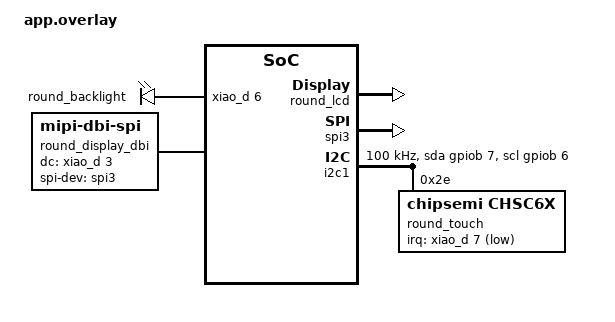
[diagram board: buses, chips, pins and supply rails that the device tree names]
#include <freq.h>
#include <zephyr/dt-bindings/display/panel.h>
#include <zephyr/dt-bindings/gpio/gpio.h>
#include <zephyr/dt-bindings/i2c/i2c.h>

/ {
	chosen {
		zephyr,display = &round_lcd;
	};

	backlights {
		compatible = "gpio-leds";
		round_backlight: backlight {
			gpios = <&xiao_d 6 GPIO_ACTIVE_HIGH>;
		};
	};

	round_display_dbi {
		compatible = "zephyr,mipi-dbi-spi";
		spi-dev = <&spi3>;
		dc-gpios = <&xiao_d 3 GPIO_ACTIVE_HIGH>;
		write-only;
		#address-cells = <1>;
		#size-cells = <0>;

		round_lcd: gc9a01@0 {
			compatible = "galaxycore,gc9x01x";
			reg = <0>;
			mipi-max-frequency = <DT_FREQ_M(8)>;
			pixel-format = <PANEL_PIXEL_FORMAT_RGB_565>;
			width = <240>;
			height = <240>;
			display-inversion;
		};
	};
};

&usart1 {
	status = "disabled";
};

&spi3 {
	status = "okay";
	cs-gpios = <&xiao_d 1 GPIO_ACTIVE_LOW>, <&xiao_d 2 GPIO_ACTIVE_LOW>;
};

&i2c1 {
	status = "okay";
	clock-frequency = <I2C_BITRATE_STANDARD>;
	scl-gpios = <&gpiob 6 (GPIO_OPEN_DRAIN | GPIO_PULL_UP)>;
	sda-gpios = <&gpiob 7 (GPIO_OPEN_DRAIN | GPIO_PULL_UP)>;

	round_touch: touchscreen@2e {
		compatible = "chipsemi,chsc6x";
		reg = <0x2e>;
		irq-gpios = <&xiao_d 7 (GPIO_ACTIVE_LOW | GPIO_PULL_UP)>;
	};
};
